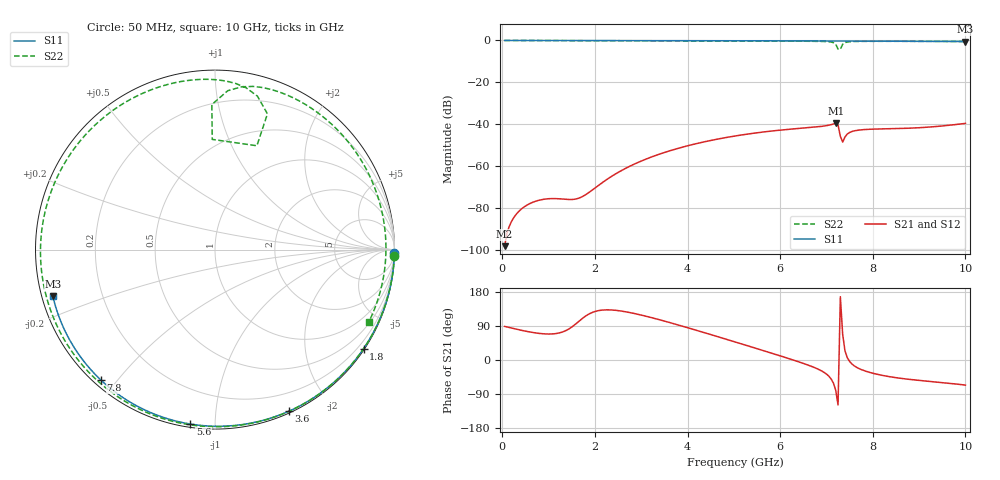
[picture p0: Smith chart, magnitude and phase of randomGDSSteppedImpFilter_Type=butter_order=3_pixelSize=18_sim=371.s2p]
! freq	dB(S11)	phase(S11)	dB(S12)	phase(S12)
!  dB(S21)	phase(S21)	dB(S22)	phase(S22)
!S-par simulation data
#  GHz  S  DB  R 50
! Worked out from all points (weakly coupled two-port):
!   200 points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, 50 MHz to 10 GHz, reference 50 ohm
!   highest |S21| = -39.65 dB at 7.2 GHz (marker M1); lowest = -98.3 dB at 50 MHz (marker M2)
!   lowest |S11| = -0.5 dB at 10 GHz (marker M3), VSWR 32.36, Z = 1.58 - j7.06 ohm
!   |S11| at or under -10 dB: nowhere
!   |S22| runs from -4.2 to 0.0 dB; largest |S21 - S12| = 0
!   S11 on the Smith chart (normalised r, x): 50 MHz: open; 1.8 GHz: 0.03, -3.30; 3.6 GHz: 0.02, -1.55; 5.6 GHz: 0.02, -0.87; 7.8 GHz: 0.02, -0.45; 10 GHz: 0.03, -0.14
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0.05  -0.00 -1.0  -98.34 88.7  -98.34 88.7  -0.00 -2.0
0.45  -0.01 -8.6  -79.92 77.4  -79.92 77.4  -0.02 -18.0
0.8  -0.02 -15.2  -76.34 70.2  -76.34 70.2  -0.04 -31.8
1.75  -0.04 -32.8  -74.40 111.6  -74.40 111.6  -0.09 -68.5
1.8  -0.04 -33.7  -73.73 116.0  -73.73 116.0  -0.09 -70.4
2.6  -0.06 -48.2  -61.87 128.6  -61.87 128.6  -0.12 -100.1
3.4  -0.08 -62.1  -54.29 106.1  -54.29 106.1  -0.16 -129.1
3.6  -0.09 -65.6  -52.86 99.3  -52.86 99.3  -0.17 -136.4
4.35  -0.11 -78.1  -48.52 72.7  -48.52 72.7  -0.22 -163.7
5.05  -0.14 -89.4  -45.58 46.8  -45.58 46.8  -0.26 170.0
5.6  -0.16 -98.1  -43.86 26.2  -43.86 26.2  -0.30 148.5
6.7  -0.22 -114.8  -41.51 -17.9  -41.51 -17.9  -0.40 101.6
7.05  -0.25 -120.1  -40.52 -42.5  -40.52 -42.5  -0.61 82.9
7.2  -0.26 -122.3  -39.65 -79.9  -39.65 -79.9  -1.82 68.9
7.25  -0.26 -123.1  -40.42 -118.6  -40.42 -118.6  -4.10 68.0
7.3  -0.27 -123.8  -45.83 167.1  -45.83 167.1  -4.23 91.4
7.35  -0.27 -124.5  -48.58 67.6  -48.58 67.6  -1.85 91.3
7.5  -0.28 -126.7  -43.99 -3.9  -43.99 -3.9  -0.60 76.9
7.8  -0.30 -131.1  -42.63 -27.5  -42.63 -27.5  -0.43 60.4
8.35  -0.35 -139.2  -42.20 -43.8  -42.20 -43.8  -0.40 36.1
9.15  -0.44 -151.1  -41.52 -55.5  -41.52 -55.5  -0.42 4.4
10  -0.54 -163.9  -39.65 -66.3  -39.65 -66.3  -0.48 -25.3
